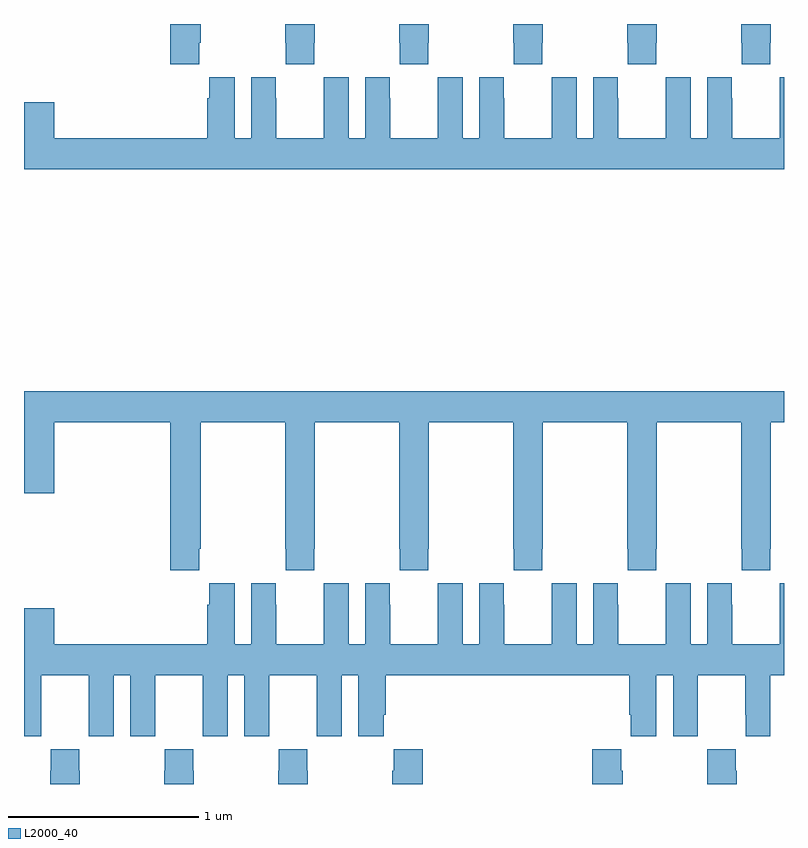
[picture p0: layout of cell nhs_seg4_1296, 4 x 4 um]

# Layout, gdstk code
import gdstk
lib = gdstk.Library(unit=1e-6, precision=1e-09)
def P(c, l, *ps):  # polygons
    for p in ps: c.add(gdstk.Polygon(p, *l))
L2000_40 = (2000, 40)

nhs_seg4_1296 = lib.new_cell('nhs_seg4_1296')
P(nhs_seg4_1296, L2000_40, [(177.923,814.801),(177.93,814.801),(177.93,814.9),(177.77,814.9),(177.77,814.689),(177.923,814.689)],
  [(178.527,814.801),(178.53,814.801),(178.53,814.9),(178.375,814.9),(178.375,814.801),(178.377,814.801),(178.377,814.689),(178.527,814.689)],
  [(179.127,814.801),(179.13,814.801),(179.13,814.9),(178.975,814.9),(178.975,814.801),(178.977,814.801),(178.977,814.689),(179.127,814.689)],
  [(179.727,814.801),(179.73,814.801),(179.73,814.9),(179.575,814.9),(179.575,814.801),(179.577,814.801),(179.577,814.689),(179.727,814.689)],
  [(180.327,814.801),(180.33,814.801),(180.33,814.9),(180.175,814.9),(180.175,814.801),(180.177,814.801),(180.177,814.689),(180.327,814.689)],
  [(180.927,814.801),(180.93,814.801),(180.93,814.9),(180.775,814.9),(180.775,814.801),(180.777,814.801),(180.777,814.689),(180.927,814.689)],
  [(178.926,814.508),(178.926,814.621),(178.796,814.621),(178.796,814.3),(178.708,814.3),(178.708,814.621),(178.578,814.621),(178.578,814.508),(178.577,814.508),(178.577,814.3),(178.327,814.3),(178.327,814.508),(178.326,814.508),(178.326,814.621),(178.196,814.621),(178.196,814.3),(178.108,814.3),(178.108,814.621),(177.974,814.621),(177.974,814.508),(177.965,814.508),(177.965,814.3),(177.16,814.3),(177.16,814.489),(177,814.489),(177,814.136),(181,814.136),(181,814.621),(180.978,814.621),(180.978,814.508),(180.977,814.508),(180.977,814.3),(180.727,814.3),(180.727,814.508),(180.726,814.508),(180.726,814.621),(180.596,814.621),(180.596,814.3),(180.508,814.3),(180.508,814.621),(180.378,814.621),(180.378,814.508),(180.377,814.508),(180.377,814.3),(180.127,814.3),(180.127,814.508),(180.126,814.508),(180.126,814.621),(179.996,814.621),(179.996,814.3),(179.908,814.3),(179.908,814.621),(179.778,814.621),(179.778,814.508),(179.777,814.508),(179.777,814.3),(179.527,814.3),(179.527,814.508),(179.526,814.508),(179.526,814.621),(179.396,814.621),(179.396,814.3),(179.308,814.3),(179.308,814.621),(179.178,814.621),(179.178,814.508),(179.177,814.508),(179.177,814.3),(178.927,814.3),(178.927,814.508)],
  [(177.923,812.137),(177.93,812.137),(177.93,812.804),(178.375,812.804),(178.375,812.137),(178.377,812.137),(178.377,812.025),(178.527,812.025),(178.527,812.137),(178.53,812.137),(178.53,812.804),(178.975,812.804),(178.975,812.137),(178.977,812.137),(178.977,812.025),(179.127,812.025),(179.127,812.137),(179.13,812.137),(179.13,812.804),(179.575,812.804),(179.575,812.137),(179.577,812.137),(179.577,812.025),(179.727,812.025),(179.727,812.137),(179.73,812.137),(179.73,812.804),(180.175,812.804),(180.175,812.137),(180.177,812.137),(180.177,812.025),(180.327,812.025),(180.327,812.137),(180.33,812.137),(180.33,812.804),(180.775,812.804),(180.775,812.137),(180.777,812.137),(180.777,812.025),(180.927,812.025),(180.927,812.137),(180.93,812.137),(180.93,812.804),(181,812.804),(181,812.968),(177,812.968),(177,812.43),(177.16,812.43),(177.16,812.804),(177.77,812.804),(177.77,812.025),(177.923,812.025)],
  [(178.196,811.636),(178.108,811.636),(178.108,811.957),(177.974,811.957),(177.974,811.844),(177.965,811.844),(177.965,811.636),(177.16,811.636),(177.16,811.825),(177,811.825),(177,811.152),(177.09,811.152),(177.09,811.264),(177.091,811.264),(177.091,811.472),(177.341,811.472),(177.341,811.264),(177.342,811.264),(177.342,811.152),(177.472,811.152),(177.472,811.472),(177.56,811.472),(177.56,811.152),(177.69,811.152),(177.69,811.264),(177.691,811.264),(177.691,811.472),(177.941,811.472),(177.941,811.264),(177.942,811.264),(177.942,811.152),(178.072,811.152),(178.072,811.472),(178.16,811.472),(178.16,811.152),(178.29,811.152),(178.29,811.264),(178.291,811.264),(178.291,811.472),(178.541,811.472),(178.541,811.264),(178.542,811.264),(178.542,811.152),(178.672,811.152),(178.672,811.472),(178.76,811.472),(178.76,811.152),(178.894,811.152),(178.894,811.264),(178.904,811.264),(178.904,811.472),(180.185,811.472),(180.185,811.264),(180.194,811.264),(180.194,811.152),(180.328,811.152),(180.328,811.472),(180.416,811.472),(180.416,811.152),(180.546,811.152),(180.546,811.264),(180.547,811.264),(180.547,811.472),(180.797,811.472),(180.797,811.264),(180.798,811.264),(180.798,811.152),(180.928,811.152),(180.928,811.472),(181,811.472),(181,811.957),(180.978,811.957),(180.978,811.844),(180.977,811.844),(180.977,811.636),(180.727,811.636),(180.727,811.844),(180.726,811.844),(180.726,811.957),(180.596,811.957),(180.596,811.636),(180.508,811.636),(180.508,811.957),(180.378,811.957),(180.378,811.844),(180.377,811.844),(180.377,811.636),(180.127,811.636),(180.127,811.844),(180.126,811.844),(180.126,811.957),(179.996,811.957),(179.996,811.636),(179.908,811.636),(179.908,811.957),(179.778,811.957),(179.778,811.844),(179.777,811.844),(179.777,811.636),(179.527,811.636),(179.527,811.844),(179.526,811.844),(179.526,811.957),(179.396,811.957),(179.396,811.636),(179.308,811.636),(179.308,811.957),(179.178,811.957),(179.178,811.844),(179.177,811.844),(179.177,811.636),(178.927,811.636),(178.927,811.844),(178.926,811.844),(178.926,811.957),(178.796,811.957),(178.796,811.636),(178.708,811.636),(178.708,811.957),(178.578,811.957),(178.578,811.844),(178.577,811.844),(178.577,811.636),(178.327,811.636),(178.327,811.844),(178.326,811.844),(178.326,811.957),(178.196,811.957)],
  [(177.294,810.971),(177.291,810.971),(177.291,811.084),(177.141,811.084),(177.141,810.971),(177.139,810.971),(177.139,810.9),(177.294,810.9)],
  [(177.894,810.971),(177.891,810.971),(177.891,811.084),(177.741,811.084),(177.741,810.971),(177.739,810.971),(177.739,810.9),(177.894,810.9)],
  [(178.494,810.971),(178.491,810.971),(178.491,811.084),(178.341,811.084),(178.341,810.971),(178.339,810.971),(178.339,810.9),(178.494,810.9)],
  [(179.099,811.084),(178.945,811.084),(178.945,810.971),(178.939,810.971),(178.939,810.9),(179.099,810.9)],
  [(180.15,810.971),(180.143,810.971),(180.143,811.084),(179.99,811.084),(179.99,810.9),(180.15,810.9)],
  [(180.75,810.971),(180.747,810.971),(180.747,811.084),(180.597,811.084),(180.597,810.971),(180.595,810.971),(180.595,810.9),(180.75,810.9)])

lib.write_gds('nhs_seg4_1296.gds')
